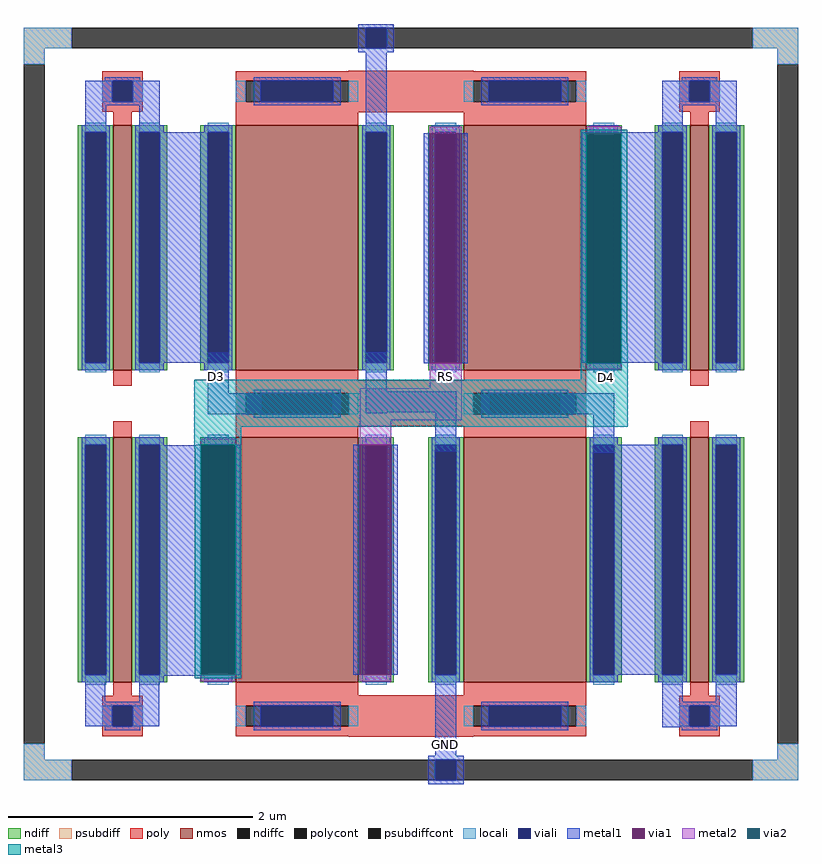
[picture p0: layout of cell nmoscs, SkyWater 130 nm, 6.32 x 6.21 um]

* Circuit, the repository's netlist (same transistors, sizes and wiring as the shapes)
* NGSPICE file created from nmoscs.ext - technology: sky130A

.subckt sky130_fd_pr__nfet_01v8_TCR5KT a_n33_191# a_n73_n231# a_15_n231# VSUBS
X0 a_15_n231# a_n33_191# a_n73_n231# VSUBS sky130_fd_pr__nfet_01v8 ad=0.58 pd=4.58 as=0.58 ps=4.58 w=2 l=0.15
.ends

.subckt sky130_fd_pr__nfet_01v8_SCJFGL a_n33_n257# a_n73_n169# a_15_n169# VSUBS
X0 a_15_n169# a_n33_n257# a_n73_n169# VSUBS sky130_fd_pr__nfet_01v8 ad=0.58 pd=4.58 as=0.58 ps=4.58 w=2 l=0.15
.ends

.subckt sky130_fd_pr__nfet_01v8_QCS68M a_86_n543# a_28_n455# a_n344_n455# a_n286_n543#
+ a_286_n455# a_286_55# a_n344_55# a_n86_55# a_28_55# a_n86_n455# VSUBS
X0 a_n86_55# a_n286_n543# a_n344_55# VSUBS sky130_fd_pr__nfet_01v8 ad=0.58 pd=4.58 as=0.58 ps=4.58 w=2 l=1
X1 a_286_n455# a_86_n543# a_28_n455# VSUBS sky130_fd_pr__nfet_01v8 ad=0.58 pd=4.58 as=0.58 ps=4.58 w=2 l=1
X2 a_n86_n455# a_n286_n543# a_n344_n455# VSUBS sky130_fd_pr__nfet_01v8 ad=0.58 pd=4.58 as=0.58 ps=4.58 w=2 l=1
X3 a_286_55# a_86_n543# a_28_55# VSUBS sky130_fd_pr__nfet_01v8 ad=0.58 pd=4.58 as=0.58 ps=4.58 w=2 l=1
.ends

.subckt nmoscs D3 RS D4 GND
Xsky130_fd_pr__nfet_01v8_TCR5KT_1 D3 D3 D3 GND sky130_fd_pr__nfet_01v8_TCR5KT
Xsky130_fd_pr__nfet_01v8_TCR5KT_0 D4 D4 D4 GND sky130_fd_pr__nfet_01v8_TCR5KT
Xsky130_fd_pr__nfet_01v8_SCJFGL_0 D4 D4 D4 GND sky130_fd_pr__nfet_01v8_SCJFGL
Xsky130_fd_pr__nfet_01v8_SCJFGL_1 D3 D3 D3 GND sky130_fd_pr__nfet_01v8_SCJFGL
Xsky130_fd_pr__nfet_01v8_QCS68M_0 D3 GND D4 D3 D3 D4 D3 GND RS RS GND sky130_fd_pr__nfet_01v8_QCS68M
.ends

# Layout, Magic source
magic
tech sky130A
magscale 1 2
<< psubdiff >>
rect -288 1123 -210 1157
rect 902 1123 976 1157
rect -288 1097 -254 1123
rect 942 1097 976 1123
rect -288 -38 -254 -12
rect 942 -38 976 -12
rect -288 -72 -210 -38
rect 902 -72 976 -38
<< psubdiffcont >>
rect -210 1123 902 1157
rect -288 -12 -254 1097
rect 942 -12 976 1097
rect -210 -72 902 -38
<< poly >>
rect 242 1019 446 1087
rect 242 506 446 581
rect 242 -1 446 67
<< locali >>
rect -288 1123 -210 1157
rect 902 1123 976 1157
rect -288 1097 -254 1123
rect -288 -38 -254 -12
rect 942 1097 976 1123
rect 942 -38 976 -12
rect -288 -72 -210 -38
rect 902 -72 976 -38
<< viali >>
rect 270 1123 304 1157
rect 384 -72 418 -38
<< metal1 >>
rect 258 1157 316 1163
rect 258 1123 270 1157
rect 304 1123 316 1157
rect 258 1117 316 1123
rect -188 986 -154 1070
rect -100 986 -66 1070
rect 270 986 304 1117
rect 754 986 788 1070
rect 842 986 876 1070
rect -66 626 12 986
rect -66 610 46 626
rect 12 560 46 610
rect 270 563 304 627
rect 365 609 375 985
rect 427 609 437 985
rect 623 610 633 986
rect 685 610 754 986
rect 12 526 92 560
rect 270 529 418 563
rect 270 527 304 529
rect -7 475 3 476
rect -66 100 3 475
rect 55 100 65 476
rect 250 100 260 476
rect 312 100 322 476
rect 384 465 418 529
rect 593 526 676 560
rect 642 476 676 526
rect 642 463 754 476
rect 676 100 754 463
rect -188 16 -155 100
rect -100 16 -67 100
rect -66 99 12 100
rect 384 -32 418 100
rect 754 15 788 100
rect 842 16 876 101
rect 372 -38 430 -32
rect 372 -72 384 -38
rect 418 -72 430 -38
rect 372 -78 430 -72
<< via1 >>
rect 375 609 427 985
rect 633 610 685 986
rect 3 100 55 476
rect 260 100 312 476
<< metal2 >>
rect 633 995 685 996
rect 375 985 427 995
rect 375 568 427 609
rect 631 986 687 995
rect 631 985 633 986
rect 685 985 687 986
rect 631 599 687 609
rect 260 516 427 568
rect 1 476 57 486
rect 1 90 57 100
rect 260 476 312 516
rect 260 90 312 100
<< via2 >>
rect 631 610 633 985
rect 633 610 685 985
rect 685 610 687 985
rect 631 609 687 610
rect 1 100 3 476
rect 3 100 55 476
rect 55 100 57 476
<< metal3 >>
rect 621 985 697 990
rect 621 609 631 985
rect 687 642 697 985
rect 687 609 698 642
rect 621 582 698 609
rect -10 505 698 582
rect -10 476 67 505
rect -10 470 1 476
rect -9 100 1 470
rect 57 100 67 476
rect -9 95 67 100
use sky130_fd_pr__nfet_01v8_QCS68M  sky130_fd_pr__nfet_01v8_QCS68M_0
transform 1 0 344 0 1 543
box -344 -543 344 543
use sky130_fd_pr__nfet_01v8_SCJFGL  sky130_fd_pr__nfet_01v8_SCJFGL_0
transform 1 0 -127 0 1 257
box -73 -257 73 257
use sky130_fd_pr__nfet_01v8_SCJFGL  sky130_fd_pr__nfet_01v8_SCJFGL_1
transform 1 0 815 0 1 257
box -73 -257 73 257
use sky130_fd_pr__nfet_01v8_TCR5KT  sky130_fd_pr__nfet_01v8_TCR5KT_0
transform 1 0 815 0 1 829
box -73 -257 73 257
use sky130_fd_pr__nfet_01v8_TCR5KT  sky130_fd_pr__nfet_01v8_TCR5KT_1
transform 1 0 -127 0 1 829
box -73 -257 73 257
<< labels >>
flabel metal2 400 587 400 587 0 FreeSans 320 0 0 0 RS
port 2 nsew
flabel metal3 664 585 664 585 0 FreeSans 320 0 0 0 D4
port 3 nsew
flabel metal1 400 -14 400 -14 0 FreeSans 320 0 0 0 GND
port 4 nsew
flabel metal1 27 587 27 587 0 FreeSans 320 0 0 0 D3
port 1 nsew
<< end >>

# cell sky130_fd_pr__nfet_01v8_QCS68M: kit device sky130_fd_pr__nfet_01v8, w 2 l 1 m 2 nf 2 diffcov 100 polycov 100 guard 0 glc 1 grc 1 gtc 1 gbc 1 tbcov 100 rlcov 100 topc 1 botc 1 poverlap 1 doverlap 0 lmin 0.15 wmin 0.42 compatible {sky130_fd_pr__nfet_01v8 sky130_fd_pr__nfet_01v8_lvt sky130_fd_bs_flash__special_sonosfet_star sky130_fd_pr__nfet_g5v0d10v5 sky130_fd_pr__nfet_05v0_nvt sky130_fd_pr__nfet_03v3_nvt} full_metal 1 viasrc 100 viadrn 100 viagate 70 viagb 0 viagr 0 viagl 0 viagt 0

# cell sky130_fd_pr__nfet_01v8_SCJFGL: kit device sky130_fd_pr__nfet_01v8, w 2 l 0.150 m 1 nf 1 diffcov 100 polycov 100 guard 0 glc 1 grc 1 gtc 1 gbc 1 tbcov 100 rlcov 100 topc 0 botc 1 poverlap 0 doverlap 1 lmin 0.15 wmin 0.42 compatible {sky130_fd_pr__nfet_01v8 sky130_fd_pr__nfet_01v8_lvt sky130_fd_bs_flash__special_sonosfet_star sky130_fd_pr__nfet_g5v0d10v5 sky130_fd_pr__nfet_05v0_nvt sky130_fd_pr__nfet_03v3_nvt} full_metal 1 viasrc 100 viadrn 100 viagate 100 viagb 0 viagr 0 viagl 0 viagt 0

# cell sky130_fd_pr__nfet_01v8_TCR5KT: kit device sky130_fd_pr__nfet_01v8, w 2 l 0.150 m 1 nf 1 diffcov 100 polycov 100 guard 0 glc 1 grc 1 gtc 1 gbc 1 tbcov 100 rlcov 100 topc 1 botc 0 poverlap 0 doverlap 1 lmin 0.15 wmin 0.42 compatible {sky130_fd_pr__nfet_01v8 sky130_fd_pr__nfet_01v8_lvt sky130_fd_bs_flash__special_sonosfet_star sky130_fd_pr__nfet_g5v0d10v5 sky130_fd_pr__nfet_05v0_nvt sky130_fd_pr__nfet_03v3_nvt} full_metal 1 viasrc 100 viadrn 100 viagate 100 viagb 0 viagr 0 viagl 0 viagt 0
